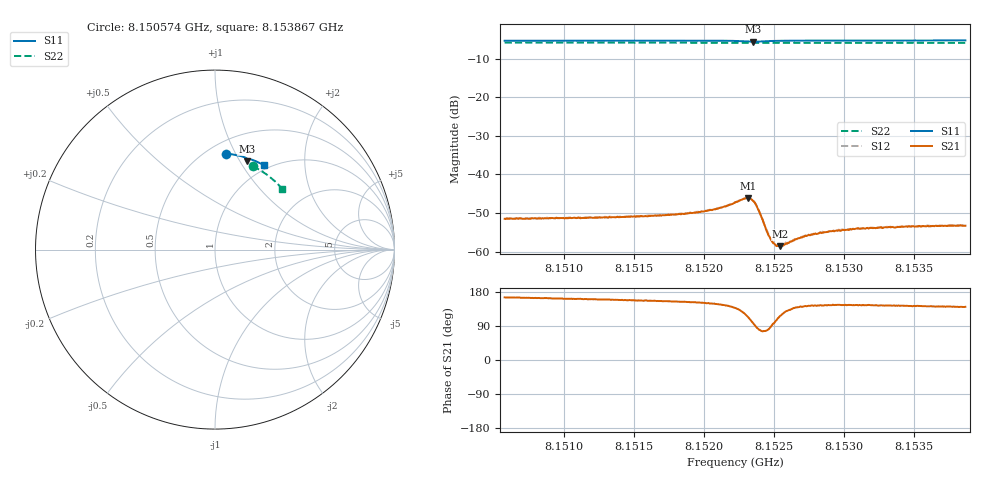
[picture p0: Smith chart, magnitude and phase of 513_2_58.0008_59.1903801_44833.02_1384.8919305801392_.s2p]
#  HZ  S  RI  R  50.00
! Rohde & Schwarz Vector Network Analyzer
! Rohde-Schwarz,ZNB20-2Port,1311601062101988,3.16
! Created: UTC 3/21/2024, 1:13:16 AM
! freq[Hz]  re:S11  im:S11  re:S21  im:S21  re:S12  im:S12  re:S22  im:S22
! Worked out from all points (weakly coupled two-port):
!   401 points, 8.150574 GHz to 8.153867 GHz, reference 50 ohm
!   highest |S21| = -46.12 dB at 8.152311 GHz (marker M1); lowest = -58.6 dB at 8.152541 GHz (marker M2)
!   lowest |S11| = -5.6 dB at 8.152352 GHz (marker M3), VSWR 3.20, Z = 39.4 + j53.5 ohm
!   |S11| at or under -10 dB: nowhere
!   |S22| runs from -5.9 to -5.9 dB; largest |S21 - S12| = 0.00012
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8.1505737e9  0.0622 0.5353  -0.00256 0.000671  -0.00259 0.000741  0.21 0.4646
8.1511253e9  0.1005 0.5304  -0.00257 0.000894  -0.00258 0.000948  0.2414 0.4483
8.151677e9  0.1388 0.5225  -0.00265 0.00121  -0.0027 0.00127  0.2713 0.4298
8.1519816e9  0.1607 0.5158  -0.0029 0.00159  -0.00289 0.00162  0.2872 0.4187
8.1521133e9  0.1708 0.5118  -0.00307 0.00202  -0.00306 0.00207  0.2942 0.4136
8.1522203e9  0.1792 0.5055  -0.00318 0.00292  -0.00314 0.003  0.2995 0.4094
8.1522862e9  0.1822 0.4984  -0.00266 0.00404  -0.0026 0.00413  0.3028 0.4066
8.1523109e9  0.1814 0.4954  -0.00204 0.0045  -0.00202 0.00453  0.3038 0.4056
8.1523274e9  0.1799 0.4937  -0.00145 0.00464  -0.0014 0.00468  0.3046 0.4049
8.1523521e9  0.1767 0.4929  -0.000472 0.00446  -0.000421 0.00451  0.3055 0.404
8.152385e9  0.1735 0.496  0.000466 0.00351  0.000539 0.00354  0.307 0.4029
8.1524509e9  0.1767 0.503  0.000346 0.00174  0.000389 0.00177  0.3104 0.4006
8.1524838e9  0.1802 0.5046  -2.83e-05 0.00135  3.28e-06 0.0014  0.3122 0.3993
8.1525085e9  0.1828 0.5051  -0.000252 0.00119  -0.00024 0.00123  0.3134 0.3984
8.1525414e9  0.1862 0.5052  -0.000515 0.00105  -0.000487 0.0011  0.315 0.3971
8.1526979e9  0.1993 0.5029  -0.00117 0.00097  -0.00121 0.000968  0.3228 0.3906
8.152772e9  0.2048 0.5012  -0.00134 0.000965  -0.00131 0.00103  0.3263 0.3875
8.1529696e9  0.2186 0.4959  -0.00153 0.00105  -0.00155 0.00108  0.3357 0.3791
8.1530848e9  0.2262 0.4929  -0.00163 0.00113  -0.00158 0.00117  0.3411 0.3742
8.1533236e9  0.2419 0.4861  -0.00168 0.00122  -0.00165 0.00127  0.3516 0.3635
8.1537599e9  0.2691 0.4723  -0.00169 0.00135  -0.00168 0.00144  0.3704 0.3433
8.153867e9  0.2756 0.4688  -0.00166 0.00138  -0.00166 0.00138  0.3749 0.3383
